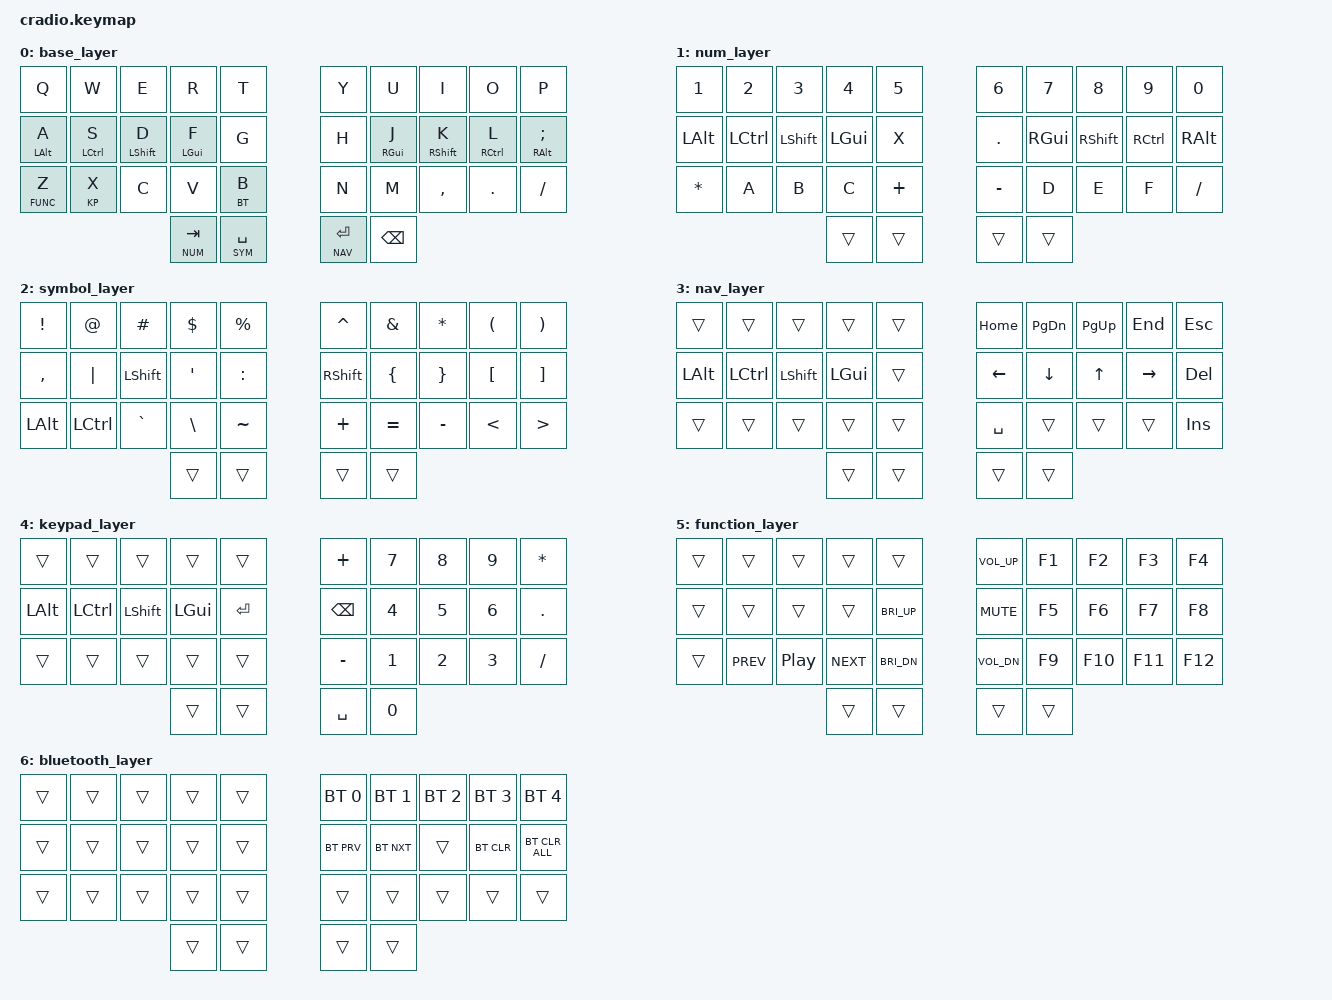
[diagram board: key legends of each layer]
/* Converted from Droo's QMK ferris/0_1 LAYOUT_split_3x5_2 keymap. */

#include <behaviors.dtsi>
#include <dt-bindings/zmk/bt.h>
#include <dt-bindings/zmk/keys.h>
#include <dt-bindings/zmk/pointing.h>

#define BASE 0
#define NUM  1
#define SYM  2
#define NAV  3
#define KP   4
#define FUNC 5
#define BT   6

/ {
    behaviors {
        hm: home_row_mods {
            compatible = "zmk,behavior-hold-tap";
            #binding-cells = <2>;
            tapping-term-ms = <175>;
            quick-tap-ms = <275>;
            flavor = "balanced";
            require-prior-idle-ms = <100>;
            bindings = <&kp>, <&kp>;
        };

        lt: layer_tap {
            compatible = "zmk,behavior-hold-tap";
            #binding-cells = <2>;
            tapping-term-ms = <175>;
            quick-tap-ms = <275>;
            flavor = "balanced";
            bindings = <&mo>, <&kp>;
        };
    };

    combos {
        compatible = "zmk,combos";

        both_shifts_caps_word {
            bindings = <&caps_word>;
            key-positions = <12 17>;
        };
    };

    keymap {
        compatible = "zmk,keymap";

        base_layer {
            bindings = <
                &kp Q        &kp W       &kp E       &kp R       &kp T          &kp Y       &kp U       &kp I       &kp O       &kp P
                &hm LALT A   &hm LCTRL S &hm LSHFT D &hm LGUI F  &kp G          &kp H       &hm RGUI J  &hm RSHFT K &hm RCTRL L &hm RALT SEMI
                &lt FUNC Z   &lt KP X    &kp C       &kp V       &lt BT B       &kp N       &kp M       &kp COMMA   &kp DOT     &kp SLASH
                                         &lt NUM TAB &lt SYM SPACE              &lt NAV ENTER &kp BSPC
            >;
        };

        num_layer {
            bindings = <
                &kp N1      &kp N2      &kp N3      &kp N4      &kp N5         &kp N6      &kp N7      &kp N8      &kp N9      &kp N0
                &kp LALT    &kp LCTRL   &kp LSHFT   &kp LGUI    &kp X          &kp DOT     &kp RGUI    &kp RSHFT   &kp RCTRL   &kp RALT
                &kp ASTERISK &kp A      &kp B       &kp C       &kp PLUS       &kp MINUS   &kp D       &kp E       &kp F       &kp SLASH
                                        &trans      &trans                      &trans      &trans
            >;
        };

        symbol_layer {
            bindings = <
                &kp EXCL    &kp AT      &kp HASH    &kp DLLR    &kp PRCNT      &kp CARET   &kp AMPS    &kp ASTERISK &kp LPAR   &kp RPAR
                &kp COMMA   &kp PIPE    &kp LSHFT   &kp SQT     &kp COLON      &kp RSHFT   &kp LBRC    &kp RBRC    &kp LBKT    &kp RBKT
                &kp LALT    &kp LCTRL   &kp GRAVE   &kp BSLH    &kp TILDE      &kp PLUS    &kp EQUAL   &kp MINUS   &kp LT      &kp GT
                                        &trans      &trans                      &trans      &trans
            >;
        };

        nav_layer {
            bindings = <
                &trans      &trans      &trans      &trans     &trans          &kp HOME    &kp PG_DN   &kp PG_UP   &kp END     &kp ESC
                &kp LALT    &kp LCTRL   &kp LSHFT   &kp LGUI   &trans          &kp LEFT    &kp DOWN    &kp UP      &kp RIGHT   &kp DEL
                &trans      &trans      &trans      &trans     &trans          &kp SPACE   &trans      &trans      &trans      &kp INS
                                        &trans      &trans                     &trans      &trans
            >;
        };

        keypad_layer {
            bindings = <
                &trans      &trans      &trans      &trans     &trans          &kp PLUS    &kp N7      &kp N8      &kp N9      &kp ASTERISK
                &kp LALT    &kp LCTRL   &kp LSHFT   &kp LGUI   &kp ENTER       &kp BSPC    &kp N4      &kp N5      &kp N6      &kp DOT
                &trans      &trans      &trans      &trans     &trans          &kp MINUS   &kp N1      &kp N2      &kp N3      &kp SLASH
                                        &trans      &trans                     &kp SPACE   &kp N0
            >;
        };

        function_layer {
            bindings = <
                &trans      &trans      &trans      &trans      &trans          &kp C_VOL_UP &kp F1      &kp F2      &kp F3      &kp F4
                &trans      &trans      &trans      &trans      &kp C_BRI_UP    &kp C_MUTE   &kp F5      &kp F6      &kp F7      &kp F8
                &trans      &kp C_PREV  &kp C_PP    &kp C_NEXT  &kp C_BRI_DN    &kp C_VOL_DN &kp F9      &kp F10     &kp F11     &kp F12
                                        &trans      &trans                      &trans      &trans
            >;
        };

        bluetooth_layer {
            bindings = <
                &trans      &trans      &trans      &trans      &trans          &bt BT_SEL 0 &bt BT_SEL 1 &bt BT_SEL 2 &bt BT_SEL 3 &bt BT_SEL 4
                &trans      &trans      &trans      &trans      &trans          &bt BT_PRV   &bt BT_NXT   &trans        &bt BT_CLR   &bt BT_CLR_ALL
                &trans      &trans      &trans      &trans      &trans          &trans       &trans       &trans        &trans       &trans
                                        &trans      &trans                      &trans       &trans
            >;
        };
    };
};
